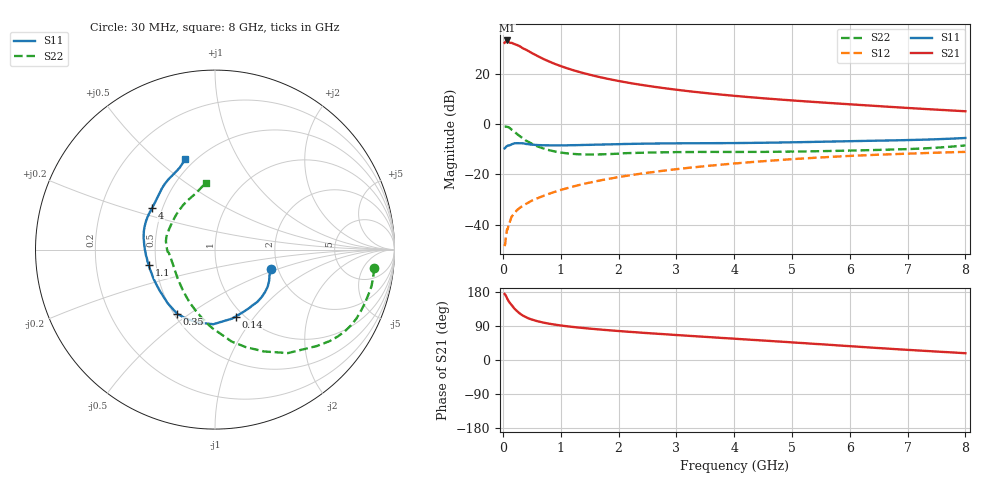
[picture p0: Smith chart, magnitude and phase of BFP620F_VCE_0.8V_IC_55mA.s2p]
! Infineon Technologies  Discrete & RF Semiconductors
! BFP620F
! VCE =  0.8 V,  IC =  55 mA
! Common Emitter S-Parameters:  Dec 2014
# GHz  S  MA  R  50
!  f  S11  S21  S12  S22
! GHz  MAG  ANG  MAG  ANG  MAG  ANG  MAG  ANG
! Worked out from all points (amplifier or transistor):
!   95 points, 30 MHz to 8 GHz, reference 50 ohm
!   highest |S21| = 33.4 dB at 70 MHz (marker M1)
!   |S21| within 3 dB of that: start of sweep to 337.7 MHz
!   unconditionally stable (mu >= 1): 1.66 GHz to end of sweep
!   at 300 MHz: K = 0.51, MSG = 32.1 dB, |S12| = -33.2 dB
!   at 3.3 GHz: K = 1.03, MAG = 13.9 dB, |S12| = -17.2 dB
!   at 8 GHz: K = 1.06, MAG = 6.6 dB, |S12| = -11.0 dB
!   S11 on the Smith chart (normalised r, x): 30 MHz: 1.83, -0.45; 140 MHz: 0.92, -0.81; 350 MHz: 0.52, -0.45; 1.1 GHz: 0.46, -0.09; 4 GHz: 0.44, +0.25; 8 GHz: 0.44, +0.62
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0.03  0.3291 -19.5  41.85 174.2  0.0037 91.9  0.8925 -6.6
0.05  0.348 -29.9  45.03 169.8  0.0053 82.5  0.8954 -13.3
0.07  0.3658 -40.5  46.69 163.6  0.0079 83.4  0.887 -19.6
0.09  0.3747 -50.9  45.34 157.7  0.0088 82.0  0.8766 -26.0
0.12  0.3812 -65.3  42.07 150.9  0.0113 75.0  0.8368 -35.5
0.14  0.3903 -72.8  41.72 147.2  0.0132 72.7  0.7978 -41.1
0.2  0.4159 -91.3  39.5 135.6  0.017 65.9  0.7055 -54.8
0.25  0.4179 -103.4  37.7 128.3  0.0196 64.4  0.6299 -64.3
0.3  0.4169 -112.6  35.37 121.8  0.0218 62.9  0.5693 -72.5
0.35  0.4153 -120.5  32.33 116.9  0.0238 63.1  0.5203 -79.8
0.45  0.3988 -131.2  28.37 109.4  0.0277 63.3  0.44 -91.6
0.6  0.3837 -143.6  22.86 102.3  0.0335 63.1  0.3601 -106.8
0.8  0.3789 -155.0  17.75 95.8  0.041 64.0  0.3035 -122.6
1.1  0.3786 -166.9  13.14 89.2  0.0526 64.7  0.2631 -142.0
1.4  0.3859 -175.2  10.39 84.3  0.0646 64.4  0.2492 -157.1
2  0.3997 172.5  7.279 76.5  0.0883 62.5  0.2584 -176.4
2.7  0.4125 162.2  5.401 69.0  0.1151 58.7  0.2737 173.4
4  0.4201 146.4  3.679 56.3  0.1644 50.0  0.2794 159.5
4.1  0.4213 145.3  3.594 55.2  0.168 49.3  0.2794 158.2
5.4  0.4441 133.4  2.767 42.5  0.2141 39.2  0.2886 139.9
6.7  0.4741 121.1  2.214 29.6  0.2513 28.3  0.3115 120.4
8  0.5308 108.5  1.81 17.9  0.2806 18.0  0.3766 97.9
